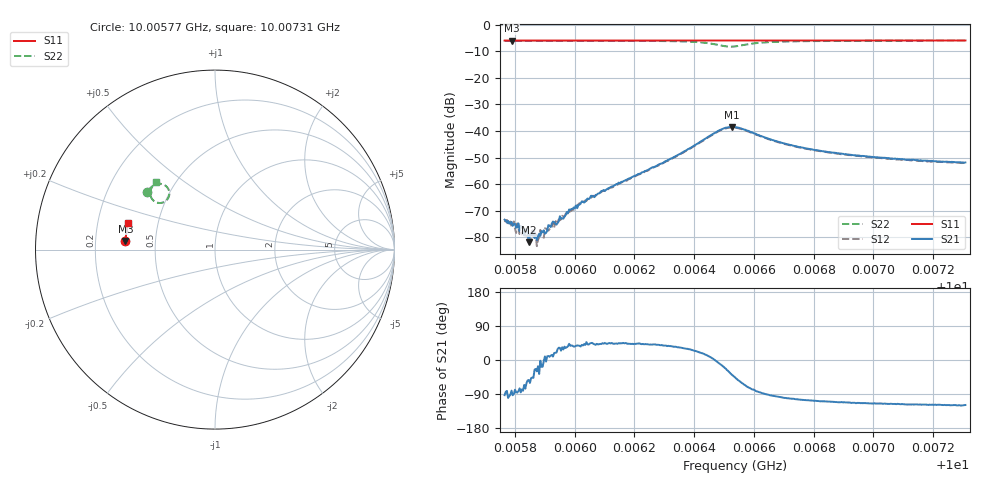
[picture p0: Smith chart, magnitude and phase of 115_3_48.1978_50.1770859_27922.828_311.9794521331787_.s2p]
#  HZ  S  RI  R  50.00
! Rohde & Schwarz Vector Network Analyzer
! Rohde-Schwarz,ZNB20-2Port,1311601062101988,3.16
! Created: UTC 3/20/2024, 11:41:10 AM
! freq[Hz]  re:S11  im:S11  re:S21  im:S21  re:S12  im:S12  re:S22  im:S22
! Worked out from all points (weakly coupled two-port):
!   401 points, 10.00577 GHz to 10.00731 GHz, reference 50 ohm
!   highest |S21| = -38.45 dB at 10.00653 GHz (marker M1); lowest = -81.9 dB at 10.00585 GHz (marker M2)
!   lowest |S11| = -6.0 dB at 10.00579 GHz (marker M3), VSWR 3.01, Z = 16.7 + j2.17 ohm
!   |S11| at or under -10 dB: nowhere
!   |S22| runs from -8.3 to -6.0 dB; largest |S21 - S12| = 0.00073
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1.0005765e10  -0.499 0.0473  -1.03e-05 -0.000215  -9.54e-06 -0.000195  -0.3782 0.3234
1.0005788e10  -0.4987 0.0487  3.1e-05 -0.000193  2.22e-05 -0.000163  -0.377 0.3248
1.0005819e10  -0.4987 0.0508  1.33e-05 -0.000164  4.3e-05 -0.000126  -0.3756 0.3267
1.0005839e10  -0.4986 0.0522  7.03e-05 -0.000127  6.15e-05 -8.62e-05  -0.3744 0.3279
1.0005846e10  -0.4986 0.0526  4.88e-05 -6.42e-05  6.86e-05 -9.05e-05  -0.3741 0.3284
1.0005862e10  -0.4985 0.0536  9.11e-05 -9.82e-05  7.82e-05 -7.83e-05  -0.3732 0.3295
1.0005873e10  -0.4983 0.0543  7.75e-05 -4.46e-05  5.6e-05 -3.91e-05  -0.3725 0.3303
1.00059e10  -0.4983 0.056  0.000116 1.94e-05  0.000148 -5.78e-06  -0.3711 0.332
1.000592e10  -0.4982 0.0574  0.000153 3.12e-05  0.000157 2.37e-05  -0.37 0.3331
1.0005939e10  -0.4981 0.0586  0.000163 5.77e-05  0.000198 8.94e-05  -0.3688 0.3344
1.0005981e10  -0.4977 0.0614  0.000246 0.000227  0.000221 0.000189  -0.3663 0.3374
1.0006024e10  -0.4975 0.064  0.000365 0.000304  0.000332 0.000315  -0.3633 0.3401
1.0006089e10  -0.497 0.0683  0.000549 0.000503  0.000476 0.000525  -0.3583 0.3449
1.0006282e10  -0.4956 0.0809  0.00181 0.00151  0.00169 0.00151  -0.3358 0.3607
1.0006409e10  -0.494 0.0891  0.00527 0.00219  0.00506 0.00237  -0.2959 0.3656
1.0006483e10  -0.4928 0.0937  0.0101 -0.00141  0.00994 -0.000843  -0.2552 0.3244
1.0006525e10  -0.4923 0.0957  0.0094 -0.00739  0.00953 -0.00667  -0.2734 0.2718
1.0006537e10  -0.4923 0.0962  0.00827 -0.00845  0.00841 -0.00789  -0.2872 0.2636
1.0006622e10  -0.4921 0.1015  0.000615 -0.00809  0.000985 -0.0079  -0.3548 0.2884
1.0006795e10  -0.4904 0.1128  -0.00132 -0.00431  -0.00111 -0.00429  -0.3567 0.3371
1.0007054e10  -0.4868 0.1294  -0.00134 -0.00275  -0.0012 -0.00276  -0.3411 0.3631
1.0007308e10  -0.4829 0.1454  -0.00123 -0.00225  -0.00112 -0.00223  -0.3271 0.3792
